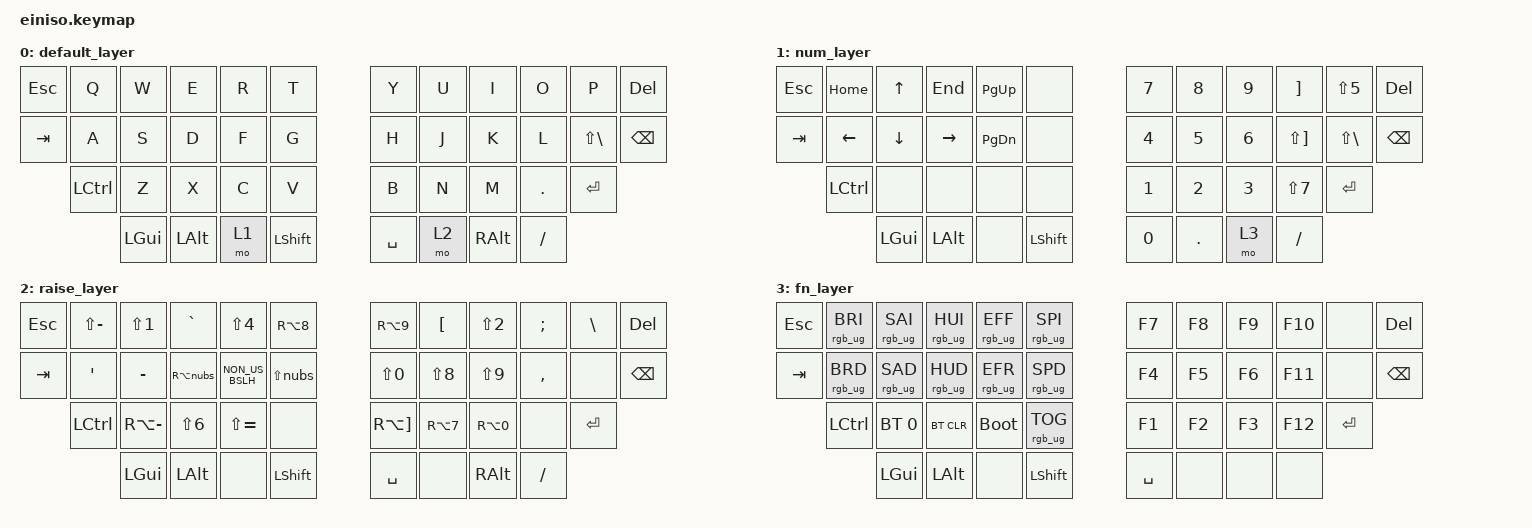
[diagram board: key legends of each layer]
/*
 * Copyright (c) 2021 The ZMK Contributors
 *
 * SPDX-License-Identifier: MIT
 */

#include <behaviors.dtsi>
#include <dt-bindings/zmk/keys.h>
#include <dt-bindings/zmk/bt.h>
#include <dt-bindings/zmk/rgb.h>
#include <dt-bindings/zmk/outputs.h>

#define nubs NON_US_BSLH
#define sqot SINGLE_QUOTE


/ {
        //combos {
        //};

        keymap {
                compatible = "zmk,keymap";

                default_layer {
//    ------------------------------------------------------         -------------------------------------------------------
//    |   ESC  |    Q   |    W   |    E   |    R   |    T   |        |    Y   |    U   |    I   |    O   |    P   |   DEL  |
// ----------------------------------------------------------        ----------------------------------------------------------
// |    TAB    |    A   |    S   |    D   |    F   |    G   |        |    H   |    J   |    K   |    L   |    '   |    BKSP   |
// ----------------------------------------------------------        ----------------------------------------------------------
//           |          |    Y   |    X   |    C   |    V   |        |    B   |    N   |    M   |    .   |         |
//            -   CTRL  |------------------------------------        -------------------------------------- RETURN |
//             |        |   GUI  |   ALT  |   NUM  |  SHIFT |        |  SPACE |  RAISE |  ALTGR |    -     |       |
//             ----------------------------------------------        -----------------------------------------------
          bindings = <
              &kp ESC   &kp Q   &kp W      &kp E      &kp R   &kp T       /*split*/   &kp Y       &kp U   &kp I      &kp O     &kp P          &kp DEL
            &kp TAB     &kp A   &kp S      &kp D      &kp F   &kp G       /*split*/   &kp H       &kp J   &kp K      &kp L     &kp LS(BSLH)     &kp BSPC
                     &kp LCTRL  &kp Z      &kp X      &kp C   &kp V       /*split*/   &kp B       &kp N   &kp M      &kp DOT     &kp RET
                                &kp LGUI   &kp LALT   &mo 1   &kp LSHFT   /*split*/   &kp SPACE   &mo 2   &kp RALT   &kp SLASH   
          >;
                };

                num_layer {
//    ------------------------------------------------------         -------------------------------------------------------
//    |   ESC  |  HOME  |   UP   |   END  |  PGDN  |   xx   |        |    7   |    8   |    9   |    +   |    %   |   DEL  |
// ----------------------------------------------------------        ----------------------------------------------------------
// |    TAB    |  LEFT  |  DOWN  |  RIGHT |  PGUP  |   xx   |        |    4   |    5   |    6   |    *   |    xx  |    BKSP   |
// ----------------------------------------------------------        ----------------------------------------------------------
//           |          |   xx   |   xx   |   xx   |   xx   |        |    1   |    2   |    3   |    /   |         |
//            -   CTRL  |------------------------------------        -------------------------------------- RETURN |
//             |        |   GUI  |   ALT  |   NUM  |  SHIFT |        |    0   |    .   |   FN   |    -     |       |
//             ----------------------------------------------        -----------------------------------------------
          bindings = <
              &kp ESC   &kp HOME   &kp UP     &kp END     &kp PG_UP   &none       /*split*/   &kp N7   &kp N8    &kp N9      &kp RBKT       &kp LS(N5)   &kp DEL
            &kp TAB     &kp LEFT   &kp DOWN   &kp RIGHT   &kp PG_DN   &none       /*split*/   &kp N4   &kp N5    &kp N6      &kp LS(RBKT)   &kp LS(BSLH)     &kp BSPC
                     &kp LCTRL     &none      &none       &none       &none       /*split*/   &kp N1   &kp N2    &kp N3      &kp LS(N7)     &kp RET
                                   &kp LGUI   &kp LALT    &none       &kp LSHFT   /*split*/   &kp N0   &kp DOT   &mo 3       &kp SLASH     
          >;
              };

                raise_layer {
//    ------------------------------------------------------         -------------------------------------------------------
//    |   ESC  |    ?   |    !   |    ^   |    $   |    [   |        |    ]   |    ü   |    "   |    ö   |    #   |   DEL  |
// ----------------------------------------------------------        ----------------------------------------------------------
// |    TAB    |    ä   |    ß   |    |   |    <   |    >   |        |    =   |    (   |    )   |   ,    |   xx   |    BKSP   |
// ----------------------------------------------------------        ----------------------------------------------------------
//           |          |    \   |    &   |    `   |   xx   |        |   xx   |    {   |    }   |   xx   |         |
//           ---  CTRL  |------------------------------------        ---------------------------------------  RET  |
//             |        |   GUI  |   ALT  |   xx   |  SHIFT |        |  SPACE |  RAISE |  ALTGR |    -     |       |
//             ----------------------------------------------        -----------------------------------------------
          bindings = <
              &kp ESC   &kp LS(MINUS)   &kp LS(N1)      &kp GRAVE      &kp LS(N4)      &kp RA(N8)     /*split*/   &kp RA(N9)     &kp LBKT     &kp LS(N2)   &kp SEMI   &kp BSLH   &kp DEL
            &kp TAB     &kp SQT         &kp MINUS       &kp RA(nubs)   &kp nubs        &kp LS(nubs)   /*split*/   &kp LS(N0)     &kp LS(N8)   &kp LS(N9)   &kp COMMA    &none        &kp BSPC
                     &kp LCTRL          &kp RA(MINUS)   &kp LS(N6)     &kp LS(EQUAL)   &none          /*split*/   &kp RA(RBKT)   &kp RA(N7)   &kp RA(N0)   &none      &kp RET
                                        &kp LGUI        &kp LALT       &none           &kp LSHFT      /*split*/   &kp SPACE      &none        &kp RALT     &kp SLASH     
          >;
                };  

                fn_layer {
//    ------------------------------------------------------         -------------------------------------------------------
//    |   ESC  |  BRI+  |  SAT+  |  HUE+  |  EFF+  |  SPD+  |        |   F7   |   F8   |   F9   |  F10   |   xx   |   DEL  |
// ----------------------------------------------------------        ----------------------------------------------------------
// |    TAB    |  BRI-  |  SAT-  |  HUE-  |  EFF-  |  SPD-  |        |   F4   |   F5   |   F6   |  F11   |   xx   |    BKSP   |
// ----------------------------------------------------------        ----------------------------------------------------------
//           |          | BTSEL0 | BTCLR  |  BOOT  | RGBTOG |        |   F1   |   F2   |   F3   |  F12   |         |
//           ---  CTRL  |------------------------------------        ---------------------------------------  RET  |
//             |        |   GUI  |   ALT  |   NUM  |  SHIFT |        |  SPACE |   xx   |   xx   |    xx    |       |
//             ----------------------------------------------        -----------------------------------------------
          bindings = <
              &kp ESC   &rgb_ug RGB_BRI &rgb_ug RGB_SAI &rgb_ug RGB_HUI &rgb_ug RGB_EFF &rgb_ug RGB_SPI  /*split*/   &kp F7      &kp F8   &kp F9   &kp F10   &none     &kp DEL
            &kp TAB     &rgb_ug RGB_BRD &rgb_ug RGB_SAD &rgb_ug RGB_HUD &rgb_ug RGB_EFR &rgb_ug RGB_SPD  /*split*/   &kp F4      &kp F5   &kp F6   &kp F11   &none     &kp BSPC
                     &kp LCTRL          &bt BT_SEL 0    &bt BT_CLR      &bootloader     &rgb_ug RGB_TOG  /*split*/   &kp F1      &kp F2   &kp F3   &kp F12   &kp RET
                                                               &kp LGUI   &kp LALT   &none   &kp LSHFT   /*split*/   &kp SPACE   &none    &none    &none     
          >;
                };
        };
};
